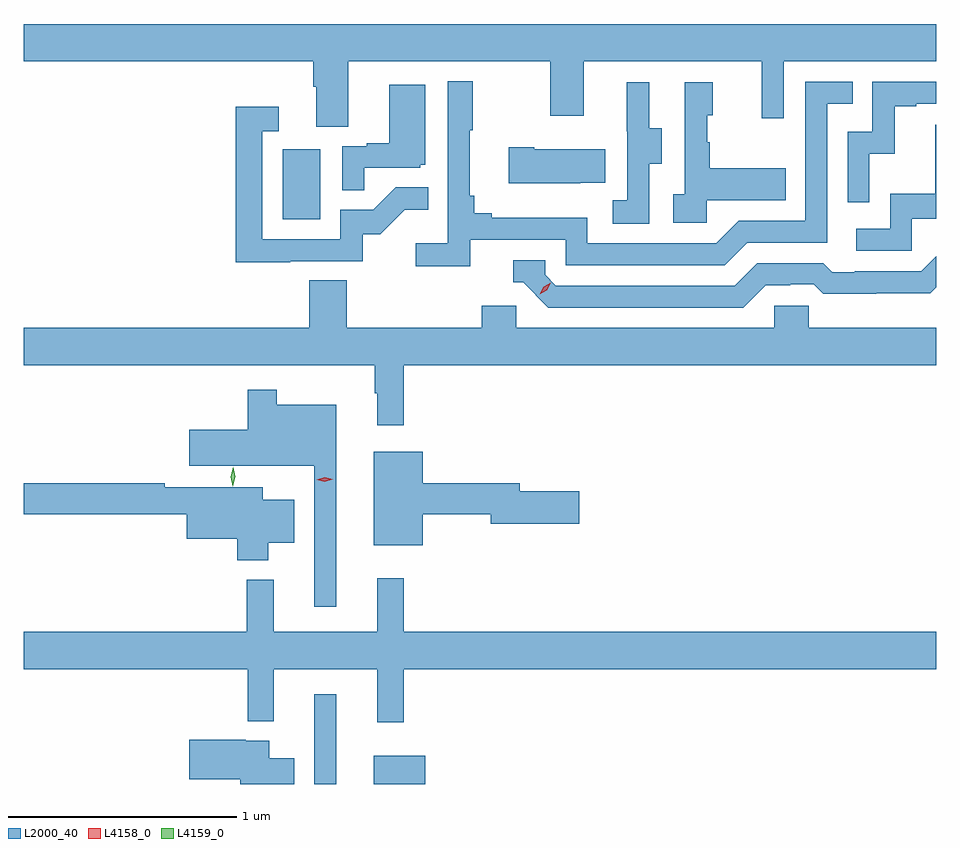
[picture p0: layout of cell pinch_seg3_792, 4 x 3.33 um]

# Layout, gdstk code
import gdstk
lib = gdstk.Library(unit=1e-6, precision=1e-09)
def R(c, l, rs):  # rectangles x0, y0, x1, y1
    for r in rs: c.add(gdstk.rectangle(r[:2], r[2:], *l))
def P(c, l, *ps):  # polygons
    for p in ps: c.add(gdstk.Polygon(p, *l))
L2000_40 = (2000, 40)
L4158_0 = (4158, 0)
L4159_0 = (4159, 0)

pinch_seg3_792 = lib.new_cell('pinch_seg3_792')
R(pinch_seg3_792, L2000_40, [(875.637,720.393,875.734,720.787), (875.897,720.393,876.124,720.517), (875.498,722.868,875.662,723.175)])
P(pinch_seg3_792, L2000_40, [(875.785,723.56),(876.67,723.56),(876.67,723.321),(876.817,723.321),(876.817,723.56),(877.598,723.56),(877.598,723.312),(877.695,723.312),(877.695,723.56),(878.363,723.56),(878.363,723.724),(874.363,723.724),(874.363,723.56),(875.633,723.56),(875.633,723.448),(875.645,723.448),(875.645,723.274),(875.785,723.274)],
  [(876.32,722.778),(876.738,722.778),(876.738,722.667),(877.435,722.667),(877.534,722.766),(877.884,722.766),(877.884,723.375),(877.997,723.375),(877.997,723.471),(877.788,723.471),(877.788,722.862),(877.497,722.862),(877.398,722.763),(876.834,722.763),(876.834,722.875),(876.415,722.875),(876.415,722.894),(876.338,722.894),(876.338,722.971),(876.319,722.971),(876.319,723.259),(876.331,723.259),(876.331,723.472),(876.222,723.472),(876.222,722.764),(876.081,722.764),(876.081,722.662),(876.32,722.662)],
  [(878.07,723.155),(878.18,723.155),(878.18,723.363),(878.275,723.363),(878.275,723.375),(878.363,723.375),(878.363,723.471),(878.082,723.471),(878.082,723.252),(877.974,723.252),(877.974,722.943),(878.07,722.943)],
  [(877.104,723.112),(877.159,723.112),(877.159,723.267),(877.105,723.267),(877.105,723.469),(877.007,723.469),(877.007,723.255),(877.008,723.255),(877.008,722.951),(876.945,722.951),(876.945,722.848),(877.104,722.848)],
  [(877.356,722.951),(877.703,722.951),(877.703,723.091),(877.369,723.091),(877.369,723.206),(877.359,723.206),(877.359,723.324),(877.384,723.324),(877.384,723.469),(877.26,723.469),(877.26,722.978),(877.209,722.978),(877.209,722.853),(877.356,722.853)],
  [(875.855,723.093),(876.102,723.093),(876.102,723.108),(876.124,723.108),(876.124,723.457),(875.966,723.457),(875.966,723.202),(875.867,723.202),(875.867,723.189),(875.76,723.189),(875.76,722.995),(875.855,722.995)],
  [(875.531,722.685),(875.85,722.685),(875.85,722.802),(875.926,722.802),(876.033,722.909),(876.137,722.909),(876.137,723.008),(875.993,723.008),(875.895,722.91),(875.751,722.91),(875.751,722.781),(875.409,722.781),(875.409,723.255),(875.482,723.255),(875.482,723.361),(875.293,723.361),(875.293,722.68),(875.531,722.68)],
  [(878.256,722.871),(878.363,722.871),(878.363,723.283),(878.359,723.283),(878.359,722.98),(878.16,722.98),(878.16,722.826),(878.013,722.826),(878.013,722.73),(878.256,722.73)],
  [(876.803,723.029),(876.911,723.029),(876.911,723.175),(876.601,723.175),(876.601,723.183),(876.489,723.183),(876.489,723.026),(876.803,723.026)],
  [(877.615,722.58),(877.722,722.58),(877.722,722.583),(877.825,722.583),(877.867,722.541),(878.1,722.541),(878.1,722.543),(878.336,722.543),(878.363,722.57),(878.363,722.705),(878.298,722.64),(878.005,722.64),(878.005,722.637),(877.906,722.637),(877.867,722.676),(877.578,722.676),(877.479,722.577),(876.696,722.577),(876.648,722.625),(876.648,722.688),(876.509,722.688),(876.509,722.592),(876.552,722.592),(876.663,722.481),(877.516,722.481)],
  [(876.029,722.228),(878.363,722.228),(878.363,722.392),(877.803,722.392),(877.803,722.49),(877.653,722.49),(877.653,722.392),(876.522,722.392),(876.522,722.49),(876.371,722.49),(876.371,722.392),(875.78,722.392),(875.78,722.6),(875.615,722.6),(875.615,722.392),(874.363,722.392),(874.363,722.228),(875.901,722.228),(875.901,722.105),(875.912,722.105),(875.912,721.965),(876.029,721.965)],
  [(875.734,722.056),(875.473,722.056),(875.473,722.122),(875.344,722.122),(875.344,721.945),(875.088,721.945),(875.088,721.787),(875.637,721.787),(875.637,721.17),(875.734,721.17)],
  [(876.112,721.576),(876.41,721.576),(876.41,721.534),(876.799,721.534),(876.799,721.676),(876.538,721.676),(876.538,721.712),(876.112,721.712),(876.112,721.849),(875.897,721.849),(875.897,721.439),(876.112,721.439)],
  [(875.434,721.451),(875.548,721.451),(875.548,721.639),(875.41,721.639),(875.41,721.693),(874.982,721.693),(874.982,721.712),(874.363,721.712),(874.363,721.576),(875.078,721.576),(875.078,721.469),(875.3,721.469),(875.3,721.373),(875.434,721.373)],
  [(876.029,720.896),(878.363,720.896),(878.363,721.06),(876.029,721.06),(876.029,721.294),(875.912,721.294),(875.912,721.06),(875.459,721.06),(875.459,721.288),(875.341,721.288),(875.341,721.06),(874.363,721.06),(874.363,720.896),(875.346,720.896),(875.346,720.668),(875.459,720.668),(875.459,720.896),(875.912,720.896),(875.912,720.663),(876.029,720.663)],
  [(875.548,720.505),(875.44,720.505),(875.44,720.583),(875.336,720.583),(875.336,720.588),(875.088,720.588),(875.088,720.413),(875.312,720.413),(875.312,720.393),(875.548,720.393)])
P(pinch_seg3_792, L4158_0, [(875.683,721.718),(875.647,721.726),(875.647,721.726),(875.647,721.727),(875.682,721.738),(875.718,721.729),(875.718,721.729),(875.718,721.729)],
  [(876.624,722.539),(876.624,722.54),(876.642,722.572),(876.673,722.59),(876.673,722.59),(876.673,722.59),(876.656,722.558),(876.625,722.539)])
P(pinch_seg3_792, L4159_0, [(875.28,721.699),(875.28,721.699),(875.271,721.74),(875.282,721.781),(875.282,721.781),(875.282,721.781),(875.291,721.74),(875.28,721.699)])

lib.write_gds('pinch_seg3_792.gds')
